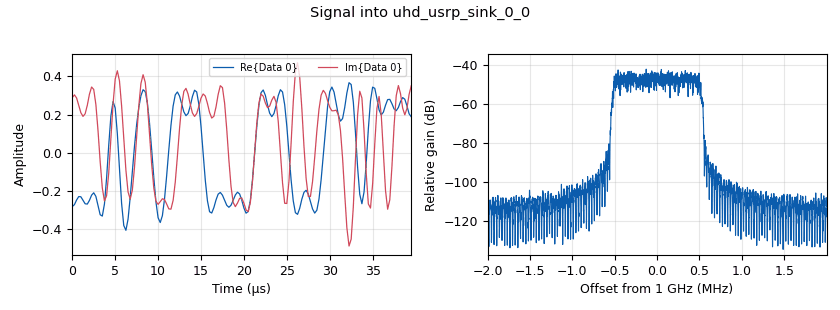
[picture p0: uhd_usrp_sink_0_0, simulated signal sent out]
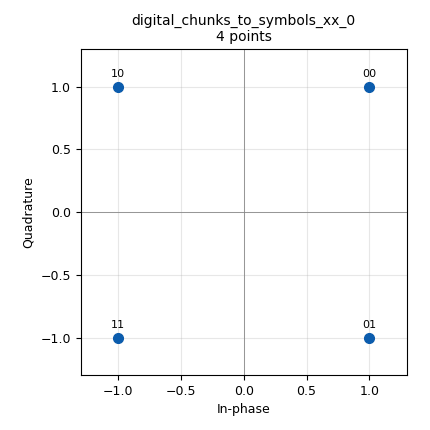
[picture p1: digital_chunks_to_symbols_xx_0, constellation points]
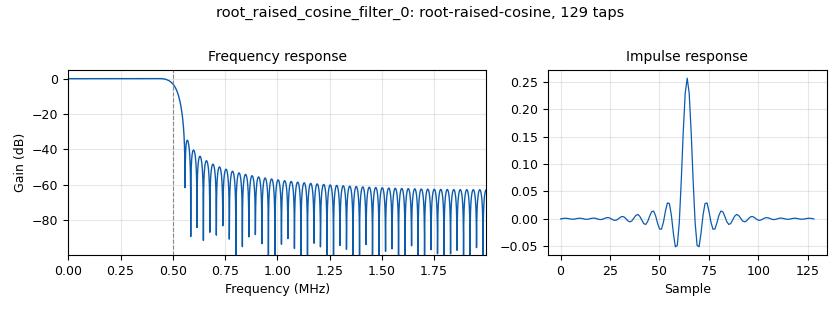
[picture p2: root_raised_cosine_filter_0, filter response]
options:
  parameters:
    generate_options: qt_gui
    id: QPSK_USRP
    output_language: python
    title: QPSK_USRP
  states: {}

blocks:
- name: excess_bw
  id: variable
  parameters:
    value: '0.1'
  states: {}
- name: sps
  id: variable
  parameters:
    value: '4'
  states: {}
- name: sym_map
  id: variable
  parameters:
    value: '[1+1j,1-1j,-1+1j,-1-1j]'
  states: {}
- name: sym_rate
  id: variable
  parameters:
    value: 1e6
  states: {}
- name: analog_random_source_x_0
  id: analog_random_source_x
  parameters:
    max: '4'
    min: '0'
    num_samps: '100000'
    repeat: 'True'
    type: byte
  states: {}
- name: blocks_char_to_float_2
  id: blocks_char_to_float
  parameters:
    scale: '1'
  states: {}
- name: blocks_delay_2_0
  id: blocks_delay
  parameters:
    delay: '3'
    type: complex
  states: {state: disabled}
- name: blocks_float_to_int_0
  id: blocks_float_to_int
  parameters:
    scale: '1'
  states: {}
- name: blocks_throttle2_0_0
  id: blocks_throttle2
  parameters:
    comment: Symbol Rate
    samples_per_second: sym_rate
    type: complex
  states: {}
- name: digital_chunks_to_symbols_xx_0
  id: digital_chunks_to_symbols_xx
  parameters:
    comment: Symbol Mapping
    dimension: '1'
    in_type: int
    out_type: complex
    symbol_table: sym_map
  states: {}
- name: interp_fir_filter_xxx_0
  id: interp_fir_filter_xxx
  parameters:
    comment: Oversampling
    interp: '4'
    taps: '[1,0,0,0]'
    type: ccc
  states: {}
- name: root_raised_cosine_filter_0
  id: root_raised_cosine_filter
  parameters:
    alpha: excess_bw
    comment: Pulse Shaping Filter
    decim: '1'
    gain: '1'
    ntaps: '128'
    samp_rate: sym_rate*sps
    sym_rate: sym_rate
    type: fir_filter_ccf
  states: {}
- name: uhd_usrp_sink_0_0
  id: uhd_usrp_sink
  parameters:
    ant0: '"TX/RX"'
    bw0: sym_rate*sps
    center_freq0: 1e9
    comment: USRP Tx
    dev_addr: addr=192.168.10.2
    gain0: '10'
    samp_rate: sym_rate*sps
    sd_spec0: A:0
    sync: sync
    type: fc32
  states: {}
- name: virtual_source_1_0
  id: virtual_source
  parameters:
    stream_id: receive_float
  states: {state: disabled}

connections:
- [analog_random_source_x_0, '0', blocks_char_to_float_2, '0']
- [blocks_char_to_float_2, '0', blocks_float_to_int_0, '0']
- [blocks_float_to_int_0, '0', digital_chunks_to_symbols_xx_0, '0']
- [blocks_throttle2_0_0, '0', interp_fir_filter_xxx_0, '0']
- [digital_chunks_to_symbols_xx_0, '0', blocks_throttle2_0_0, '0']
- [interp_fir_filter_xxx_0, '0', root_raised_cosine_filter_0, '0']
- [root_raised_cosine_filter_0, '0', uhd_usrp_sink_0_0, '0']

metadata:
  file_format: 1
  grc_version: 3.10.10.0
